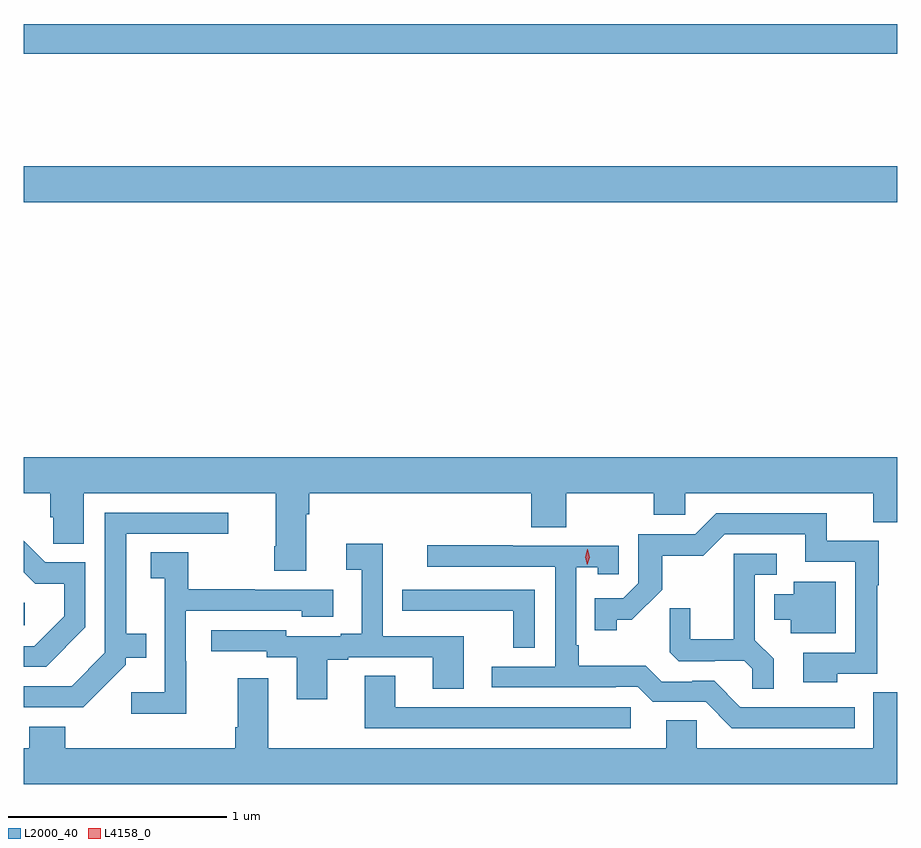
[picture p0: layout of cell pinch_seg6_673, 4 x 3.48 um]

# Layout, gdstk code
import gdstk
lib = gdstk.Library(unit=1e-6, precision=1e-09)
def R(c, l, rs):  # rectangles x0, y0, x1, y1
    for r in rs: c.add(gdstk.rectangle(r[:2], r[2:], *l))
def P(c, l, *ps):  # polygons
    for p in ps: c.add(gdstk.Polygon(p, *l))
L2000_40 = (2000, 40)
L4158_0 = (4158, 0)

pinch_seg6_673 = lib.new_cell('pinch_seg6_673')
R(pinch_seg6_673, L2000_40, [(448.191,938.739,448.195,938.842), (448.191,940.676,452.191,940.84), (448.191,941.356,452.191,941.492)])
P(pinch_seg6_673, L2000_40, [(449.485,939.248),(449.498,939.248),(449.498,939.344),(450.515,939.344),(450.515,939.187),(450.675,939.187),(450.675,939.344),(451.075,939.344),(451.075,939.246),(451.221,939.246),(451.221,939.344),(452.081,939.344),(452.081,939.211),(452.191,939.211),(452.191,939.508),(448.191,939.508),(448.191,939.344),(448.313,939.344),(448.313,939.234),(448.327,939.234),(448.327,939.112),(448.465,939.112),(448.465,939.344),(449.345,939.344),(449.345,939.1),(449.338,939.1),(449.338,938.988),(449.485,938.988)],
  [(448.659,938.559),(448.659,938.591),(448.751,938.591),(448.751,938.701),(448.66,938.701),(448.66,939.159),(449.128,939.159),(449.128,939.255),(448.563,939.255),(448.563,938.613),(448.41,938.46),(448.191,938.46),(448.191,938.364),(448.464,938.364)],
  [(451.917,938.517),(452.099,938.517),(452.099,938.923),(452.107,938.923),(452.107,939.126),(451.868,939.126),(451.868,939.252),(451.362,939.252),(451.266,939.156),(451.005,939.156),(451.005,938.931),(450.936,938.862),(450.805,938.862),(450.805,938.715),(450.906,938.715),(450.906,938.765),(450.976,938.765),(451.114,938.902),(451.114,939.058),(451.303,939.058),(451.401,939.156),(451.769,939.156),(451.769,939.03),(451.998,939.03),(451.998,938.613),(451.761,938.613),(451.761,938.477),(451.917,938.477)],
  [(448.473,938.729),(448.473,939.027),(448.29,939.027),(448.191,939.126),(448.191,938.982),(448.243,938.93),(448.376,938.93),(448.376,938.78),(448.239,938.643),(448.191,938.643),(448.191,938.55),(448.294,938.55)],
  [(449.581,938.58),(449.677,938.58),(449.677,938.592),(450.065,938.592),(450.065,938.449),(450.205,938.449),(450.205,938.688),(449.835,938.688),(449.835,939.112),(449.667,939.112),(449.667,938.992),(449.738,938.992),(449.738,938.701),(449.642,938.701),(449.642,938.688),(449.394,938.688),(449.394,938.715),(449.049,938.715),(449.049,938.619),(449.304,938.619),(449.304,938.592),(449.441,938.592),(449.441,938.4),(449.581,938.4)],
  [(451.996,938.364),(451.473,938.364),(451.353,938.484),(451.252,938.484),(451.252,938.481),(451.113,938.481),(451.04,938.554),(450.733,938.554),(450.733,938.647),(450.72,938.647),(450.72,939.005),(450.819,939.005),(450.819,938.973),(450.915,938.973),(450.915,939.102),(450.431,939.102),(450.431,939.105),(450.039,939.105),(450.039,939.006),(450.624,939.006),(450.624,938.55),(450.333,938.55),(450.333,938.454),(450.902,938.454),(450.902,938.457),(451.002,938.457),(451.071,938.388),(451.314,938.388),(451.434,938.268),(451.996,938.268)],
  [(448.935,938.573),(448.932,938.573),(448.932,938.805),(449.463,938.805),(449.463,938.777),(449.608,938.777),(449.608,938.901),(449.249,938.901),(449.249,938.904),(448.945,938.904),(448.945,939.074),(448.773,939.074),(448.773,938.953),(448.836,938.953),(448.836,938.431),(448.683,938.431),(448.683,938.333),(448.935,938.333)],
  [(451.625,938.585),(451.539,938.671),(451.539,938.97),(451.639,938.97),(451.639,939.066),(451.442,939.066),(451.442,938.674),(451.244,938.674),(451.244,938.817),(451.15,938.817),(451.15,938.615),(451.191,938.574),(451.356,938.574),(451.356,938.577),(451.49,938.577),(451.527,938.54),(451.527,938.449),(451.625,938.449)],
  [(451.909,938.938),(451.718,938.938),(451.718,938.881),(451.628,938.881),(451.628,938.765),(451.703,938.765),(451.703,938.702),(451.909,938.702)],
  [(450.531,938.901),(449.925,938.901),(449.925,938.806),(450.037,938.806),(450.037,938.805),(450.433,938.805),(450.433,938.635),(450.531,938.635)],
  [(450.97,938.364),(449.893,938.364),(449.893,938.507),(449.753,938.507),(449.753,938.268),(450.97,938.268)],
  [(452.191,938.432),(452.081,938.432),(452.081,938.176),(451.272,938.176),(451.272,938.303),(451.133,938.303),(451.133,938.176),(449.311,938.176),(449.311,938.497),(449.171,938.497),(449.171,938.272),(449.159,938.272),(449.159,938.176),(448.382,938.176),(448.382,938.275),(448.217,938.275),(448.217,938.176),(448.191,938.176),(448.191,938.012),(452.191,938.012)])
P(pinch_seg6_673, L4158_0, [(450.772,939.015),(450.772,939.015),(450.762,939.051),(450.772,939.087),(450.772,939.087),(450.773,939.087),(450.782,939.051),(450.772,939.015)])

lib.write_gds('pinch_seg6_673.gds')
